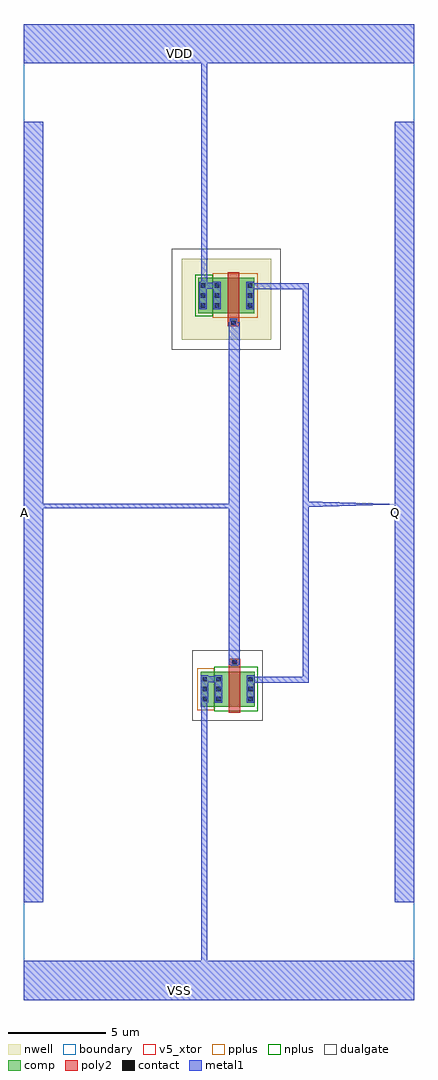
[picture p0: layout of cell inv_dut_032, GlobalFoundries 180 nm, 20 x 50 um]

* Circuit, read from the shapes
.subckt inv_dut_032 A Q VDD VSS
XM1 Q A VSS VSS nfet_05v0 w=1.8u l=0.6u
XM2 Q A VDD VDD pfet_05v0 w=1.8u l=0.6u
.ends

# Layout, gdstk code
from math import pi, radians
import gdstk
lib = gdstk.Library(unit=1e-6, precision=1e-09)
def R(c, l, rs):  # rectangles x0, y0, x1, y1
    for r in rs: c.add(gdstk.rectangle(r[:2], r[2:], *l))
def A(c, l, x, y, w, h, nx, ny, dx, dy):  # array of equal rectangles
    R(c, l, [(x+i*dx, y+j*dy, x+i*dx+w, y+j*dy+h) for i in range(nx) for j in range(ny)])
boundary = (0, 0)
nwell = (21, 0)
comp = (22, 0)
poly2 = (30, 0)
pplus = (31, 0)
nplus = (32, 0)
contact = (33, 0)
metal1 = (34, 0)
dualgate = (55, 0)
v5_xtor = (112, 1)

nfet = lib.new_cell('nfet')
R(nfet, comp, [(-0.42,0,2.35,1.8)])
R(nfet, poly2, [(0.31,-0.3,0.91,2.46)])
R(nfet, pplus, [(1.64,-0.17,2.52,1.97)])
R(nfet, nplus, [(-0.59,-0.24,1.64,2.04)])
A(nfet, contact, -0.32, 0.28, 0.22, 0.22, 1, 3, 0, 0.51)
A(nfet, contact, 1.32, 0.28, 0.22, 0.22, 1, 3, 0, 0.51)
A(nfet, contact, 2.03, 0.28, 0.22, 0.22, 1, 3, 0, 0.51)
R(nfet, contact, [(0.5,2.17,0.72,2.39)])
R(nfet, metal1, [(-0.4,0.2,-0.02,1.6), (1.24,0.2,1.62,1.6), (1.95,0.2,2.33,1.6), (0.42,2.09,0.8,2.47)])
R(nfet, dualgate, [(-0.84,-0.71,2.77,2.88)])
R(nfet, v5_xtor, [(-0.84,-0.71,2.77,2.88)])

pfet = lib.new_cell('pfet')
R(pfet, nwell, [(-1.32,-1.37,3.27,2.79)])
R(pfet, comp, [(-0.46,0,2.41,1.8)])
R(pfet, poly2, [(0.31,-0.68,0.91,2.1)])
R(pfet, pplus, [(-0.63,-0.24,1.68,2.04)])
R(pfet, nplus, [(1.68,-0.17,2.58,1.97)])
A(pfet, contact, -0.34, 0.28, 0.22, 0.22, 1, 3, 0, 0.51)
A(pfet, contact, 1.34, 0.28, 0.22, 0.22, 1, 3, 0, 0.51)
A(pfet, contact, 2.07, 0.28, 0.22, 0.22, 1, 3, 0, 0.51)
R(pfet, contact, [(0.5,-0.6,0.72,-0.38)])
R(pfet, metal1, [(0.42,-0.68,0.8,-0.3), (-0.42,0.2,-0.04,1.6), (1.26,0.2,1.64,1.6), (1.99,0.2,2.37,1.6)])
R(pfet, dualgate, [(-1.82,-1.87,3.77,3.29)])
R(pfet, v5_xtor, [(-1.82,-1.87,3.77,3.29)])

inv_dut_032 = lib.new_cell('inv_dut_032')
R(inv_dut_032, boundary, [(-10,-25,10,25)])
R(inv_dut_032, metal1, [(-10,-25,10,-23), (-10,-20,-9,20), (9,-20,10,20), (-10,23,10,25)])
inv_dut_032.add(gdstk.FlexPath([(0.78,9.71),(0.78,-7.815)], 0.56, ends="flush", simple_path=True, layer=34, datatype=0))  # metal1
inv_dut_032.add(gdstk.FlexPath([(-9.39,0.3),(-0.1,0.3),(0.755,0.3),(0.755,0.295)], 0.23, ends="flush", simple_path=True, layer=34, datatype=0))  # metal1
inv_dut_032.add(gdstk.FlexPath([(-0.755,-8.56),(-0.755,-24.03),(-0.57,-24.03)], 0.3, ends="flush", simple_path=True, layer=34, datatype=0))  # metal1
inv_dut_032.add(gdstk.FlexPath([(-0.75,11.59),(-0.75,23.925)], 0.3, ends="flush", simple_path=True, layer=34, datatype=0))  # metal1
inv_dut_032.add(gdstk.FlexPath([(-0.765,11.59),(0.055,11.59)], 0.3, ends="flush", simple_path=True, layer=34, datatype=0))  # metal1
inv_dut_032.add(gdstk.FlexPath([(1.485,11.57),(4.45,11.57),(4.45,-8.585),(1.475,-8.585)], 0.3, ends="flush", simple_path=True, layer=34, datatype=0))  # metal1
inv_dut_032.add(gdstk.FlexPath([(4.45,0.39),(9.595,0.39),(9.095,0.39)], 0.3, ends="flush", simple_path=True, layer=34, datatype=0))  # metal1
inv_dut_032.add(gdstk.FlexPath([(-0.78,-8.565),(0.03,-8.565)], 0.3, ends="flush", simple_path=True, layer=34, datatype=0))  # metal1
inv_dut_032.add(gdstk.Reference(nfet, (1.405,-9.975), rotation=pi, x_reflection=True))
inv_dut_032.add(gdstk.Reference(pfet, (1.355,10.19), rotation=pi, x_reflection=True))
inv_dut_032.add(gdstk.Label('VDD', (-2,23.5), layer=34, texttype=10))
inv_dut_032.add(gdstk.Label('VSS', (-2,-24.5), layer=34, texttype=10))
inv_dut_032.add(gdstk.Label('A', (-9.97,0), layer=34, texttype=10))
inv_dut_032.add(gdstk.Label('Q', (9.03,0), layer=34, texttype=10))

lib.write_gds('inv_dut_032.gds')
